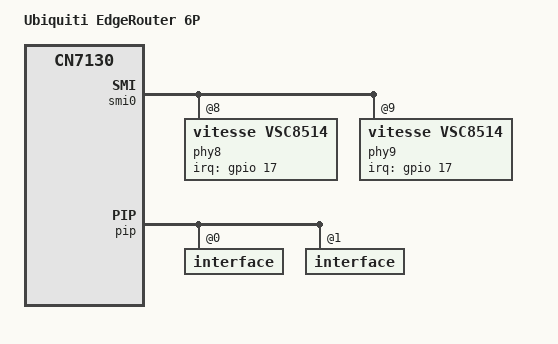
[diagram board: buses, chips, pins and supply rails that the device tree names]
// SPDX-License-Identifier: GPL-2.0-or-later OR MIT

#include "cn7130_ubnt_edgerouter-e300.dtsi"

/ {
	compatible = "ubnt,edgerouter-6p", "cavium,cn7130";
	model = "Ubiquiti EdgeRouter 6P";
};

&smi0 {
	phy8: ethernet-phy@8 {
		device_type = "ethernet-phy";
		interrupts = <17 8>;
		interrupt-parent = <&gpio>;
		compatible = "vitesse,vsc8514", "ethernet-phy-ieee802.3-c22";
		reg = <8>;
	};

	phy9: ethernet-phy@9 {
		device_type = "ethernet-phy";
		interrupts = <17 8>;
		interrupt-parent = <&gpio>;
		compatible = "vitesse,vsc8514", "ethernet-phy-ieee802.3-c22";
		reg = <9>;
	};
};

&pip {
	interface@0 {
		ethernet@0 {
			label = "lan5";
			status = "okay";
			phy-mode = "sgmii";
			phy-handle = <&phy4>;
			nvmem-cells = <&macaddr_eeprom_0 0>;
			nvmem-cell-names = "mac-address";
		};
	};

	interface@1 {
		status = "okay";

		ethernet@0 {
			label = "lan3";
			status = "okay";
			phy-mode = "sgmii";
			phy-handle = <&phy8>;
			nvmem-cells = <&macaddr_eeprom_0 4>;
			nvmem-cell-names = "mac-address";
		};

		ethernet@1 {
			label = "lan4";
			status = "okay";
			phy-mode = "sgmii";
			phy-handle = <&phy9>;
			nvmem-cells = <&macaddr_eeprom_0 5>;
			nvmem-cell-names = "mac-address";
		};
	};
};

